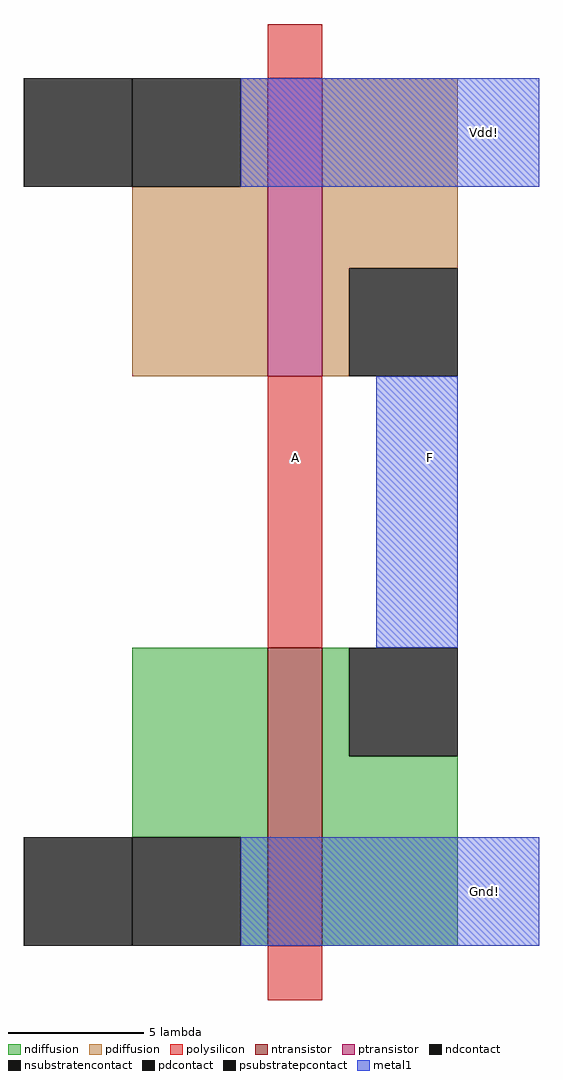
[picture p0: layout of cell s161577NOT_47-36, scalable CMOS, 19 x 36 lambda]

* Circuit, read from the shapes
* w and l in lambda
.subckt s161577NOT_47-36 A F Gnd! Vdd!
M1 F A Gnd! Gnd! nfet w=11 l=2
M2 F A Vdd! Vdd! pfet w=11 l=2
.ends

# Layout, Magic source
magic
tech scmos
<< polysilicon >>
rect -1 12 1 14
rect -1 -9 1 1
rect -1 -22 1 -20
<< ndiffusion >>
rect -6 -16 -1 -9
rect -2 -20 -1 -16
rect 1 -13 2 -9
rect 1 -20 6 -13
<< pdiffusion >>
rect -2 8 -1 12
rect -6 1 -1 8
rect 1 5 6 12
rect 1 1 2 5
<< metal1 >>
rect -2 8 9 12
rect 3 -9 6 1
rect -2 -20 9 -16
<< ntransistor >>
rect -1 -20 1 -9
<< ptransistor >>
rect -1 1 1 12
<< ndcontact >>
rect -6 -20 -2 -16
rect 2 -13 6 -9
<< pdcontact >>
rect -6 8 -2 12
rect 2 1 6 5
<< psubstratepcontact >>
rect -10 -20 -6 -16
<< nsubstratencontact >>
rect -10 8 -6 12
<< labels >>
rlabel metal1 7 10 7 10 6 Vdd!
rlabel metal1 7 -18 7 -18 7 Gnd!
rlabel polysilicon 0 -2 0 -2 1 A
rlabel metal1 5 -2 5 -2 7 F
<< end >>
